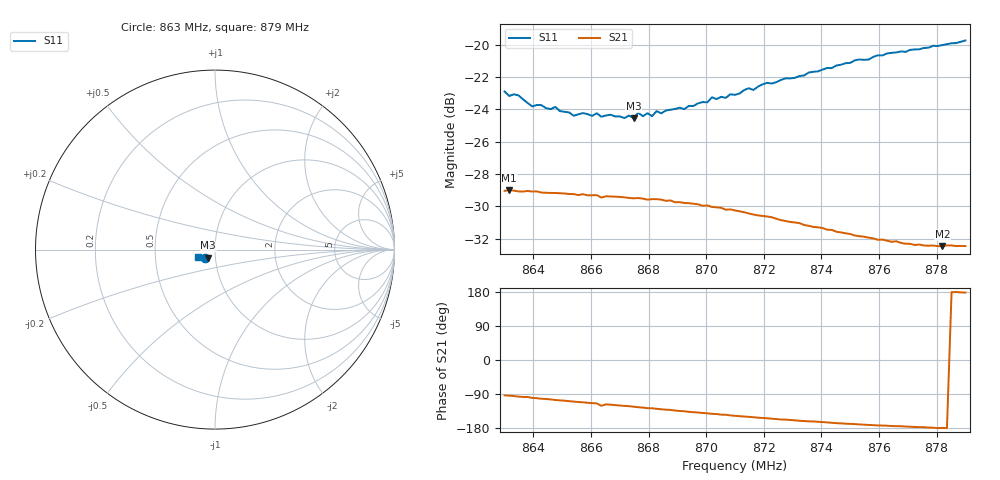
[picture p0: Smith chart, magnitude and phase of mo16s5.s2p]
# HZ S RI R 50
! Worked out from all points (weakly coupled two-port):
!   101 points, 863 MHz to 879 MHz, reference 50 ohm
!   highest |S21| = -29.01 dB at 863.16 MHz (marker M1); lowest = -32.5 dB at 878.2 MHz (marker M2)
!   lowest |S11| = -24.6 dB at 867.48 MHz (marker M3), VSWR 1.13, Z = 46.1 - j4.19 ohm
!   |S11| at or under -10 dB: start of sweep to end of sweep
!   S12 and S22 are empty: the file has one direction only
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8.63e8  -0.0561 -0.0445  -0.00201 -0.0353  0 0  0 0
8.6316e8  -0.0543 -0.0431  -0.00258 -0.0353  0 0  0 0
8.6348e8  -0.0539 -0.0441  -0.00401 -0.0349  0 0  0 0
8.6396e8  -0.05 -0.0406  -0.00618 -0.0346  0 0  0 0
8.6476e8  -0.0477 -0.0429  -0.00934 -0.0335  0 0  0 0
8.654e8  -0.0439 -0.0412  -0.0117 -0.0325  0 0  0 0
8.6572e8  -0.0437 -0.0431  -0.0127 -0.032  0 0  0 0
8.6748e8  -0.0382 -0.0452  -0.0184 -0.028  0 0  0 0
8.6764e8  -0.0401 -0.0467  -0.019 -0.0276  0 0  0 0
8.678e8  -0.0393 -0.0454  -0.0194 -0.0272  0 0  0 0
8.6796e8  -0.04 -0.0465  -0.02 -0.0265  0 0  0 0
8.6812e8  -0.0383 -0.0463  -0.0202 -0.0264  0 0  0 0
8.6828e8  -0.0389 -0.0486  -0.0209 -0.0259  0 0  0 0
8.6844e8  -0.0388 -0.0475  -0.0213 -0.0254  0 0  0 0
8.7004e8  -0.0389 -0.0537  -0.0246 -0.0202  0 0  0 0
8.702e8  -0.0419 -0.0544  -0.0248 -0.0194  0 0  0 0
8.71e8  -0.0429 -0.0552  -0.0258 -0.0166  0 0  0 0
8.7148e8  -0.0453 -0.0576  -0.026 -0.015  0 0  0 0
8.7372e8  -0.0559 -0.0605  -0.026 -0.00835  0 0  0 0
8.7644e8  -0.0769 -0.0545  -0.0244 -0.00249  0 0  0 0
8.782e8  -0.0891 -0.0446  -0.0238 -0.000405  0 0  0 0
8.79e8  -0.0954 -0.0386  -0.0238 0.000865  0 0  0 0
